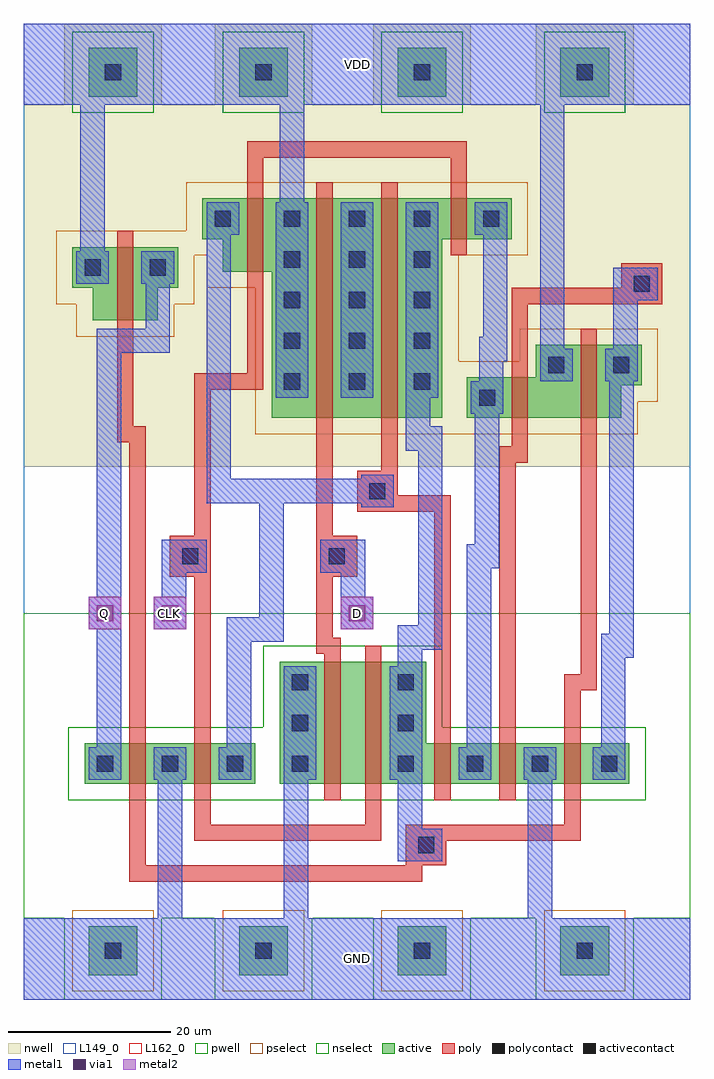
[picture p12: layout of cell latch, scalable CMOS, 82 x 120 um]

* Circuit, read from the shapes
.subckt latch CLK D GND Q VDD
M1 GND n1 Q GND nfet w=5u l=2u
M2 n2 CLK GND GND nfet w=5u l=2u
M3 n3 D GND GND nfet w=15u l=2u
M4 n1 CLK n3 GND nfet w=15u l=2u
M5 n4 n2 n1 GND nfet w=5u l=2u
M6 GND n5 n4 GND nfet w=5u l=2u
M7 n5 n1 GND GND nfet w=5u l=2u
M8 Q n1 VDD VDD pfet w=9u l=2u
M9 VDD CLK n2 VDD pfet w=9u l=2u
M10 n6 D VDD VDD pfet w=27u l=2u
M11 n1 n2 n6 VDD pfet w=27u l=2u
M12 n4 CLK n1 VDD pfet w=5u l=2u
M13 VDD n5 n4 VDD pfet w=5u l=2u
M14 n5 n1 VDD VDD pfet w=9u l=2u
.ends

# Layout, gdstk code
import gdstk
lib = gdstk.Library(unit=1e-6, precision=1e-09)
def R(c, l, rs):  # rectangles x0, y0, x1, y1
    for r in rs: c.add(gdstk.rectangle(r[:2], r[2:], *l))
def A(c, l, x, y, w, h, nx, ny, dx, dy):  # array of equal rectangles
    R(c, l, [(x+i*dx, y+j*dy, x+i*dx+w, y+j*dy+h) for i in range(nx) for j in range(ny)])
def P(c, l, *ps):  # polygons
    for p in ps: c.add(gdstk.Polygon(p, *l))
pwell = (41, 0)
nwell = (42, 0)
active = (43, 0)
pselect = (44, 0)
nselect = (45, 0)
poly = (46, 0)
polycontact = (47, 0)
activecontact = (48, 0)
metal1 = (49, 0)
via1 = (50, 0)
metal2 = (51, 0)
L149_0 = (149, 0)
L162_0 = (162, 0)

pwell_contact = lib.new_cell('pwell_contact')
R(pwell_contact, pwell, [(-6,-6,6,5)])
R(pwell_contact, active, [(-3,-3,3,3)])
R(pwell_contact, pselect, [(-5,-5,5,5)])
R(pwell_contact, activecontact, [(-1,-1,1,1)])

nwell_contact = lib.new_cell('nwell_contact')
R(nwell_contact, nwell, [(-6,-5,6,6)])
R(nwell_contact, active, [(-3,-3,3,3)])
R(nwell_contact, nselect, [(-5,-5,5,5)])
R(nwell_contact, activecontact, [(-1,-1,1,1)])

via = lib.new_cell('via')
R(via, metal1, [(-2,-2,2,2)])
R(via, via1, [(-1,-1,1,1)])
R(via, metal2, [(-2,-2,2,2)])

latch = lib.new_cell('latch')
R(latch, pwell, [(0,10,82,20), (0,10,82,47.5), (1.5,20.5,34.5,37.5)])
P(latch, pwell, [(25.5,20.5),(80.5,20.5),(80.5,37.5),(55.5,37.5),(55.5,47.5),(25.5,47.5)])
R(latch, nwell, [(0,65.5,82,110), (0,95,82,110)])
P(latch, nwell, [(66,87.5),(57.5,87.5),(57.5,65.5),(24.5,65.5),(24.5,83.5),(18.5,83.5),(18.5,87.5),(16,87.5),(16,104.5),(66,104.5)],
  [(82,69.5),(79.5,69.5),(79.5,65.5),(48.5,65.5),(48.5,82.5),(57,82.5),(57,86.5),(82,86.5)],
  [(0,81.5),(2.5,81.5),(2.5,77.5),(22.5,77.5),(22.5,81.5),(25,81.5),(25,98.5),(0,98.5)])
R(latch, active, [(7.5,26.5,28.5,31.5)])
P(latch, active, [(60,93.5),(51.5,93.5),(51.5,71.5),(30.5,71.5),(30.5,89.5),(24.5,89.5),(24.5,93.5),(22,93.5),(22,98.5),(60,98.5)],
  [(31.5,26.5),(74.5,26.5),(74.5,31.5),(49.5,31.5),(49.5,41.5),(31.5,41.5)],
  [(76,75.5),(73.5,75.5),(73.5,71.5),(54.5,71.5),(54.5,76.5),(63,76.5),(63,80.5),(76,80.5)],
  [(6,87.5),(8.5,87.5),(8.5,83.5),(16.5,83.5),(16.5,87.5),(19,87.5),(19,92.5),(6,92.5)])
P(latch, pselect, [(62,91.5),(53.5,91.5),(53.5,69.5),(28.5,69.5),(28.5,87.5),(22.5,87.5),(22.5,91.5),(20,91.5),(20,100.5),(62,100.5)],
  [(78,73.5),(75.5,73.5),(75.5,69.5),(52.5,69.5),(52.5,78.5),(61,78.5),(61,82.5),(78,82.5)],
  [(4,85.5),(6.5,85.5),(6.5,81.5),(18.5,81.5),(18.5,85.5),(21,85.5),(21,94.5),(4,94.5)])
R(latch, nselect, [(5.5,24.5,30.5,33.5)])
P(latch, nselect, [(29.5,24.5),(76.5,24.5),(76.5,33.5),(51.5,33.5),(51.5,43.5),(29.5,43.5)])
A(latch, poly, 50.5, 24.5, 2, 2, 3, 2, 8, 7)
A(latch, poly, 50.5, 26.5, 2, 5, 3, 1, 8, 0)
R(latch, poly, [(47,16.5,52,21.5), (13,24.5,15,26.5), (21,24.5,23,26.5), (37,24.5,39,26.5), (42,24.5,44,26.5), (13,26.5,15,31.5), (21,26.5,23,31.5), (37,26.5,39,41.5), (42,26.5,44,41.5), (13,31.5,15,33.5), (21,31.5,23,33.5), (37,41.5,39,43.5), (42,41.5,44,43.5), (18,52,23,57), (36,52,41,57), (41,60,46,65), (36,69.5,38,71.5), (44,69.5,46,71.5), (60,69.5,62,71.5), (68.5,69.5,70.5,71.5), (36,71.5,38,98.5), (44,71.5,46,98.5), (60,71.5,62,76.5), (68.5,71.5,70.5,80.5), (60,76.5,62,78.5), (68.5,80.5,70.5,82.5), (11.5,81.5,13.5,83.5), (11.5,83.5,13.5,92.5), (73.5,85.5,78.5,90.5), (27.5,87.5,29.5,89.5), (27.5,89.5,29.5,98.5), (52.5,91.5,54.5,93.5), (11.5,92.5,13.5,94.5), (52.5,93.5,54.5,98.5), (27.5,98.5,29.5,100.5), (36,98.5,38,100.5), (44,98.5,46,100.5), (52.5,98.5,54.5,100.5)])
R(latch, polycontact, [(48.5,18,50.5,20), (19.5,53.5,21.5,55.5), (37.5,53.5,39.5,55.5), (42.5,61.5,44.5,63.5), (75,87,77,89)])
A(latch, activecontact, 9, 28, 2, 2, 4, 1, 8, 0)
A(latch, activecontact, 46, 28, 2, 2, 1, 3, 0, 5)
A(latch, activecontact, 32, 75, 2, 2, 3, 5, 8, 5)
R(latch, activecontact, [(54.5,28,56.5,30), (62.5,28,64.5,30), (71,28,73,30), (33,33,35,35), (33,38,35,40), (56,73,58,75), (64.5,77,66.5,79), (72.5,77,74.5,79), (7.5,89,9.5,91), (15.5,89,17.5,91), (23.5,95,25.5,97), (56.5,95,58.5,97)])
A(latch, metal1, 8, 27, 4, 4, 3, 1, 8, 0)
A(latch, metal1, 31, 74, 4, 24, 3, 1, 8, 0)
R(latch, metal1, [(0,0,82,10), (0,0,82,10), (47.5,17,51.5,21), (32,27,36,41), (45,27,49,41), (53.5,27,57.5,31), (61.5,27,65.5,31), (70,27,74,31), (18.5,52.5,22.5,56.5), (36.5,52.5,40.5,56.5), (41.5,60.5,45.5,64.5), (55,72,59,76), (63.5,76,67.5,80), (71.5,76,75.5,80), (74,86,78,90), (6.5,88,10.5,92), (14.5,88,18.5,92), (22.5,94,26.5,98), (55.5,94,59.5,98), (0,110,82,120), (0,110,82,120)])
R(latch, metal2, [(8,45.5,12,49.5), (16,45.5,20,49.5), (39,45.5,43,49.5)])
R(latch, L149_0, [(0,0,82,10), (0,0,82,120), (47.5,17,51.5,21), (18.5,52.5,22.5,56.5), (36.5,52.5,40.5,56.5), (41.5,60.5,45.5,64.5), (74,86,78,90), (0,110,82,120)])
R(latch, L162_0, [(8,45.5,12,49.5), (16,45.5,20,49.5), (39,45.5,43,49.5)])
latch.add(gdstk.FlexPath([(48.5,74),(48.5,69),(50,69),(50,44.5),(47.5,44.5),(47.5,41)], 3, ends="flush", simple_path=True, layer=149, datatype=0))  # L149_0
latch.add(gdstk.FlexPath([(73.5,76),(73.5,43.5),(72.5,43.5),(72.5,31)], 3, ends="flush", simple_path=True, layer=149, datatype=0))  # L149_0
latch.add(gdstk.FlexPath([(57,72),(57,54.5),(56,54.5),(56,31)], 3, ends="flush", simple_path=True, layer=149, datatype=0))  # L149_0
latch.add(gdstk.FlexPath([(74,80),(74,90)], 3, ends="flush", simple_path=True, layer=149, datatype=0))  # L149_0
latch.add(gdstk.FlexPath([(63.5,27),(63.5,10)], 3, ends="flush", simple_path=True, layer=149, datatype=0))  # L149_0
latch.add(gdstk.FlexPath([(58,94),(58,80),(57.5,80),(57.5,76)], 3, ends="flush", simple_path=True, layer=149, datatype=0))  # L149_0
latch.add(gdstk.FlexPath([(18,27),(18,10)], 3, ends="flush", simple_path=True, layer=149, datatype=0))  # L149_0
latch.add(gdstk.FlexPath([(33,98),(33,110)], 3, ends="flush", simple_path=True, layer=149, datatype=0))  # L149_0
latch.add(gdstk.FlexPath([(8.5,92),(8.5,110)], 3, ends="flush", simple_path=True, layer=149, datatype=0))  # L149_0
latch.add(gdstk.FlexPath([(65,80),(65,110)], 3, ends="flush", simple_path=True, layer=149, datatype=0))  # L149_0
latch.add(gdstk.FlexPath([(47.5,27),(47.5,17)], 3, ends="flush", simple_path=True, layer=149, datatype=0))  # L149_0
latch.add(gdstk.FlexPath([(24,94),(24,62.5),(30.5,62.5),(30.5,45.5),(26.5,45.5),(26.5,31)], 3, ends="flush", simple_path=True, layer=149, datatype=0))  # L149_0
latch.add(gdstk.FlexPath([(41.5,62.5),(32,62.5)], 3, ends="flush", simple_path=True, layer=149, datatype=0))  # L149_0
latch.add(gdstk.FlexPath([(16.5,88),(16.5,81),(10.5,81),(10.5,31)], 3, ends="flush", simple_path=True, layer=149, datatype=0))  # L149_0
latch.add(gdstk.FlexPath([(33.5,27),(33.5,10)], 3, ends="flush", simple_path=True, layer=149, datatype=0))  # L149_0
latch.add(gdstk.FlexPath([(40.5,56.5),(40.5,45.5)], 3, ends="flush", simple_path=True, layer=149, datatype=0))  # L149_0
latch.add(gdstk.FlexPath([(18.5,56.5),(18.5,45.5)], 3, ends="flush", simple_path=True, layer=149, datatype=0))  # L149_0
latch.add(gdstk.FlexPath([(48.5,74),(48.5,69),(50,69),(50,44.5),(47.5,44.5),(47.5,41)], 3, ends="flush", simple_path=True, layer=49, datatype=0))  # metal1
latch.add(gdstk.FlexPath([(73.5,76),(73.5,43.5),(72.5,43.5),(72.5,31)], 3, ends="flush", simple_path=True, layer=49, datatype=0))  # metal1
latch.add(gdstk.FlexPath([(57,72),(57,54.5),(56,54.5),(56,31)], 3, ends="flush", simple_path=True, layer=49, datatype=0))  # metal1
latch.add(gdstk.FlexPath([(74,80),(74,90)], 3, ends="flush", simple_path=True, layer=49, datatype=0))  # metal1
latch.add(gdstk.FlexPath([(63.5,27),(63.5,10)], 3, ends="flush", simple_path=True, layer=49, datatype=0))  # metal1
latch.add(gdstk.FlexPath([(58,94),(58,80),(57.5,80),(57.5,76)], 3, ends="flush", simple_path=True, layer=49, datatype=0))  # metal1
latch.add(gdstk.FlexPath([(18,27),(18,10)], 3, ends="flush", simple_path=True, layer=49, datatype=0))  # metal1
latch.add(gdstk.FlexPath([(33,98),(33,110)], 3, ends="flush", simple_path=True, layer=49, datatype=0))  # metal1
latch.add(gdstk.FlexPath([(8.5,92),(8.5,110)], 3, ends="flush", simple_path=True, layer=49, datatype=0))  # metal1
latch.add(gdstk.FlexPath([(65,80),(65,110)], 3, ends="flush", simple_path=True, layer=49, datatype=0))  # metal1
latch.add(gdstk.FlexPath([(47.5,27),(47.5,17)], 3, ends="flush", simple_path=True, layer=49, datatype=0))  # metal1
latch.add(gdstk.FlexPath([(24,94),(24,62.5),(30.5,62.5),(30.5,45.5),(26.5,45.5),(26.5,31)], 3, ends="flush", simple_path=True, layer=49, datatype=0))  # metal1
latch.add(gdstk.FlexPath([(41.5,62.5),(32,62.5)], 3, ends="flush", simple_path=True, layer=49, datatype=0))  # metal1
latch.add(gdstk.FlexPath([(16.5,88),(16.5,81),(10.5,81),(10.5,31)], 3, ends="flush", simple_path=True, layer=49, datatype=0))  # metal1
latch.add(gdstk.FlexPath([(33.5,27),(33.5,10)], 3, ends="flush", simple_path=True, layer=49, datatype=0))  # metal1
latch.add(gdstk.FlexPath([(40.5,56.5),(40.5,45.5)], 3, ends="flush", simple_path=True, layer=49, datatype=0))  # metal1
latch.add(gdstk.FlexPath([(18.5,56.5),(18.5,45.5)], 3, ends="flush", simple_path=True, layer=49, datatype=0))  # metal1
latch.add(gdstk.FlexPath([(22,24.5),(22,20.5),(43,20.5),(43,24.5)], 2, ends="flush", simple_path=True, layer=46, datatype=0))  # poly
latch.add(gdstk.FlexPath([(67.5,24.5),(67.5,20.5),(47,20.5)], 2, ends="flush", simple_path=True, layer=46, datatype=0))  # poly
latch.add(gdstk.FlexPath([(67.5,33.5),(67.5,39),(69.5,39),(69.5,69.5)], 2, ends="flush", simple_path=True, layer=46, datatype=0))  # poly
latch.add(gdstk.FlexPath([(61,78.5),(61,86.5),(75,86.5)], 2, ends="flush", simple_path=True, layer=46, datatype=0))  # poly
latch.add(gdstk.FlexPath([(45,69.5),(45,61),(51.5,61),(51.5,33.5)], 2, ends="flush", simple_path=True, layer=46, datatype=0))  # poly
latch.add(gdstk.FlexPath([(37,69.5),(37,43.5),(39,43.5)], 2, ends="flush", simple_path=True, layer=46, datatype=0))  # poly
latch.add(gdstk.FlexPath([(14,33.5),(14,69.5),(12.5,69.5),(12.5,81.5)], 2, ends="flush", simple_path=True, layer=46, datatype=0))  # poly
latch.add(gdstk.FlexPath([(59.5,33.5),(59.5,67),(61,67),(61,69.5)], 2, ends="flush", simple_path=True, layer=46, datatype=0))  # poly
latch.add(gdstk.FlexPath([(14,24.5),(14,15.5),(48,15.5),(48,21.5)], 2, ends="flush", simple_path=True, layer=46, datatype=0))  # poly
latch.add(gdstk.FlexPath([(22,33.5),(22,76),(28.5,76),(28.5,87.5)], 2, ends="flush", simple_path=True, layer=46, datatype=0))  # poly
latch.add(gdstk.FlexPath([(28.5,100.5),(28.5,104.5),(53.5,104.5),(53.5,100.5)], 2, ends="flush", simple_path=True, layer=46, datatype=0))  # poly
latch.add(gdstk.Reference(pwell_contact, (11,6)))
latch.add(gdstk.Reference(pwell_contact, (49,6)))
latch.add(gdstk.Reference(pwell_contact, (69,6)))
latch.add(gdstk.Reference(pwell_contact, (29.5,6)))
latch.add(gdstk.Reference(nwell_contact, (29.5,114)))
latch.add(gdstk.Reference(nwell_contact, (49,114)))
latch.add(gdstk.Reference(nwell_contact, (69,114)))
latch.add(gdstk.Reference(nwell_contact, (11,114)))
latch.add(gdstk.Reference(via, (18,47.5)))
latch.add(gdstk.Reference(via, (41,47.5)))
latch.add(gdstk.Reference(via, (10,47.5)))
latch.add(gdstk.Label('D', (41,47.5), layer=3, texttype=0))
latch.add(gdstk.Label('Q', (10,47.5), layer=3, texttype=0))
latch.add(gdstk.Label('CLK', (18,47.5), layer=3, texttype=0))
latch.add(gdstk.Label('VDD', (41,115), layer=2, texttype=0))
latch.add(gdstk.Label('GND', (41,5), layer=2, texttype=0))

lib.write_gds('latch.gds')
